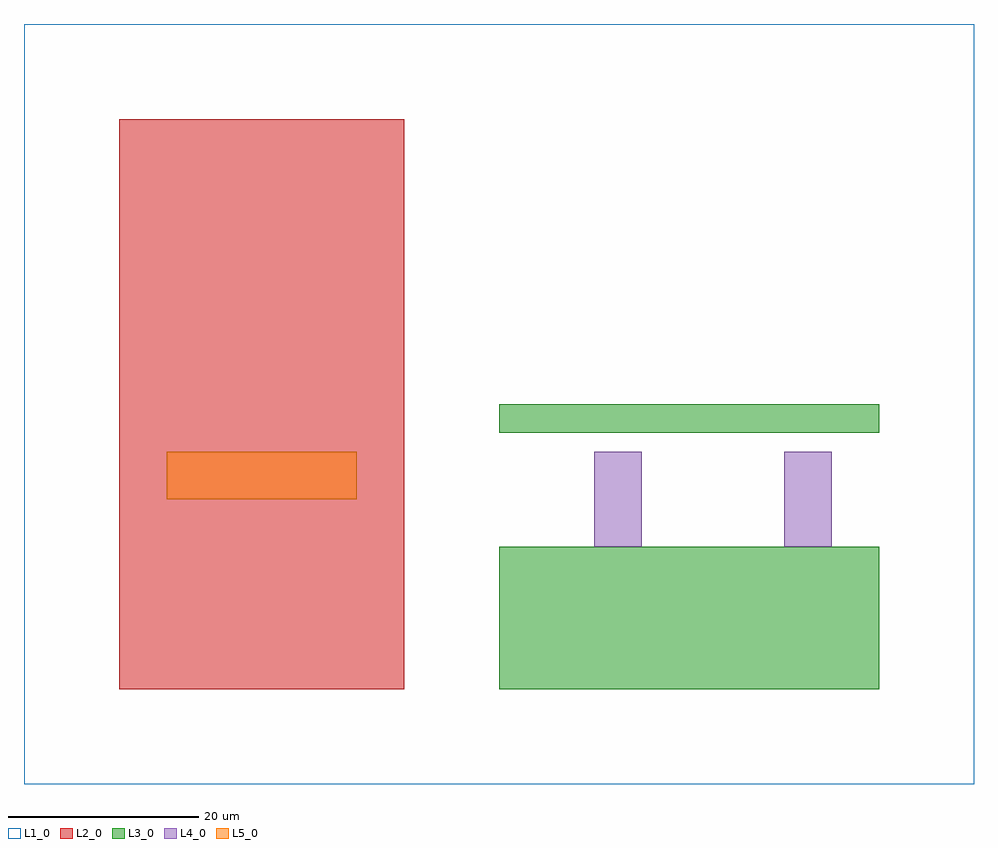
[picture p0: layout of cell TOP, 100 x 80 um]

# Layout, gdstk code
import gdstk
lib = gdstk.Library(unit=1e-6, precision=1e-09)
def R(c, l, rs):  # rectangles x0, y0, x1, y1
    for r in rs: c.add(gdstk.rectangle(r[:2], r[2:], *l))
L1_0 = (1, 0)
L2_0 = (2, 0)
L3_0 = (3, 0)
L4_0 = (4, 0)
L5_0 = (5, 0)

top = lib.new_cell('TOP')
R(top, L1_0, [(0,0,100,80)])
R(top, L2_0, [(10,10,40,70)])
R(top, L3_0, [(50,10,90,25), (50,37,90,40)])
R(top, L4_0, [(60,25,65,35), (80,25,85,35)])
R(top, L5_0, [(15,30,35,35)])

lib.write_gds('TOP.gds')
